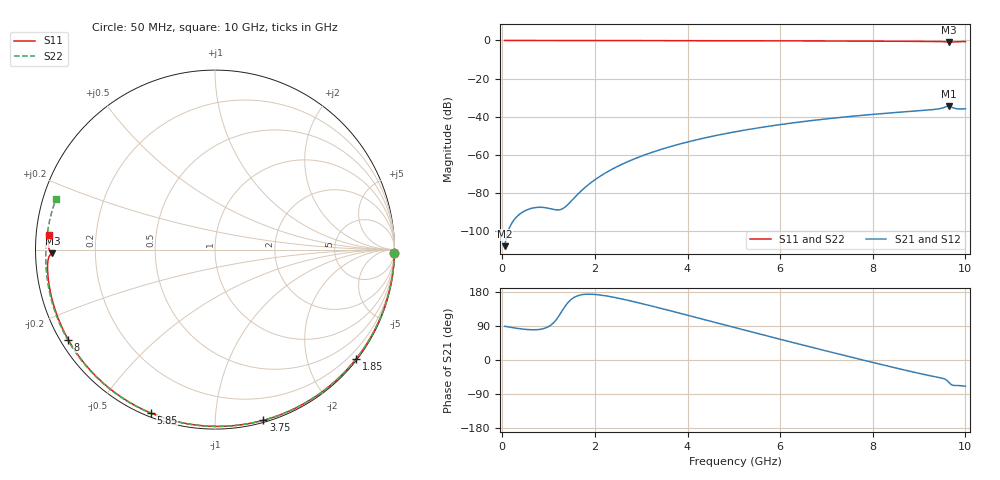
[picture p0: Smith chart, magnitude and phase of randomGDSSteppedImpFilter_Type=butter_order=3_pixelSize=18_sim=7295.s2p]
! freq	dB(S11)	phase(S11)	dB(S12)	phase(S12)
!  dB(S21)	phase(S21)	dB(S22)	phase(S22)
!S-par simulation data
#  GHz  S  DB  R 50
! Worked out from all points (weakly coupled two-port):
!   200 points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, 50 MHz to 10 GHz, reference 50 ohm
!   highest |S21| = -34.37 dB at 9.65 GHz (marker M1); lowest = -107.7 dB at 50 MHz (marker M2)
!   lowest |S11| = -0.9 dB at 9.65 GHz (marker M3), VSWR 20.23, Z = 2.47 - j0.565 ohm
!   |S11| at or under -10 dB: nowhere
!   |S22| runs from -0.6 to 0.0 dB; largest |S21 - S12| = 0
!   S11 on the Smith chart (normalised r, x): 50 MHz: open; 1.85 GHz: 0.03, -2.93; 3.75 GHz: 0.02, -1.32; 5.85 GHz: 0.02, -0.68; 8 GHz: 0.02, -0.28; 10 GHz: 0.04, +0.04
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0.05  -0.00 -1.0  -107.75 88.9  -107.75 88.9  -0.00 -1.1
0.8  -0.02 -16.5  -87.37 80.6  -87.37 80.6  -0.02 -17.5
1.65  -0.04 -33.7  -80.06 170.3  -80.06 170.3  -0.05 -35.6
1.75  -0.05 -35.7  -77.78 172.9  -77.78 172.9  -0.05 -37.7
1.85  -0.05 -37.7  -75.71 173.7  -75.71 173.7  -0.05 -39.8
2.15  -0.06 -43.6  -70.53 170.9  -70.53 170.9  -0.06 -46.1
2.5  -0.06 -50.5  -65.83 163.2  -65.83 163.2  -0.07 -53.3
2.9  -0.08 -58.2  -61.56 152.2  -61.56 152.2  -0.08 -61.4
3.4  -0.09 -67.6  -57.28 137.1  -57.28 137.1  -0.09 -71.4
3.75  -0.10 -74.1  -54.78 126.1  -54.78 126.1  -0.11 -78.2
4.4  -0.12 -86.0  -50.90 105.4  -50.90 105.4  -0.13 -90.7
5.05  -0.15 -97.5  -47.75 84.7  -47.75 84.7  -0.16 -102.8
5.85  -0.19 -111.5  -44.60 59.4  -44.60 59.4  -0.20 -117.5
6.7  -0.25 -126.1  -41.90 32.9  -41.90 32.9  -0.26 -133.0
7.35  -0.30 -137.2  -40.19 13.1  -40.19 13.1  -0.31 -144.9
8  -0.36 -148.5  -38.72 -6.5  -38.72 -6.5  -0.38 -157.0
8.35  -0.40 -154.7  -38.02 -16.8  -38.02 -16.8  -0.42 -163.6
8.85  -0.46 -163.8  -37.10 -31.1  -37.10 -31.1  -0.48 -173.4
9.35  -0.54 -173.4  -36.07 -44.3  -36.07 -44.3  -0.54 176.4
9.65  -0.86 -178.7  -34.37 -60.0  -34.37 -60.0  -0.58 170.1
9.8  -0.66 179.4  -35.73 -67.3  -35.73 -67.3  -0.60 166.8
10  -0.63 175.0  -35.80 -69.2  -35.80 -69.2  -0.63 162.4
